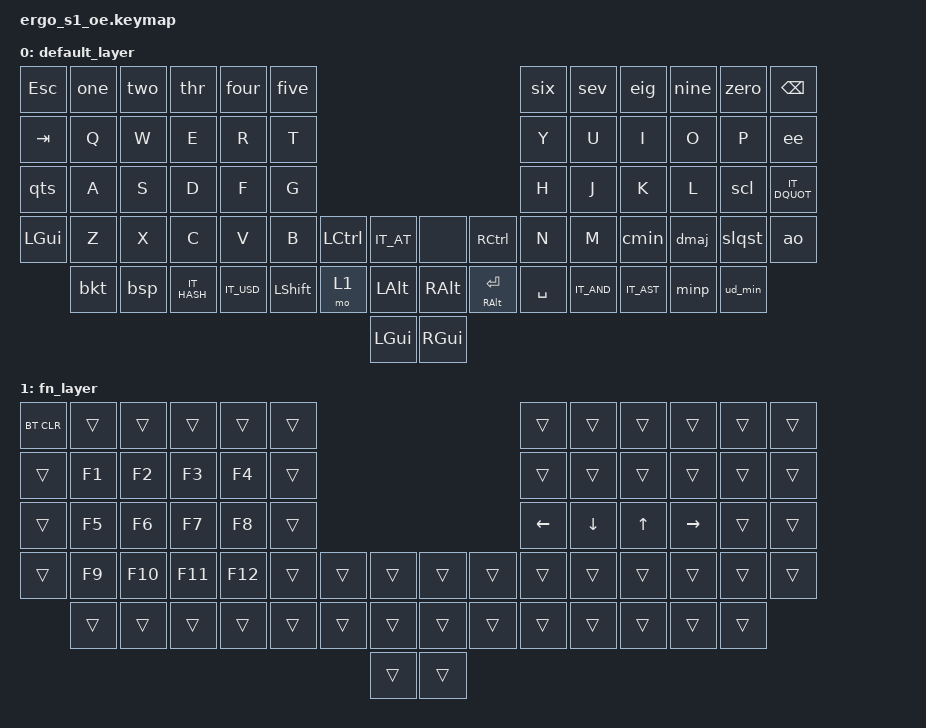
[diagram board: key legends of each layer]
/*
 * Copyright (c) 2021 The ZMK Contributors
 *
 * SPDX-License-Identifier: MIT
 */

#include <behaviors.dtsi>
#include <dt-bindings/zmk/keys.h>
#include <dt-bindings/zmk/bt.h>
#include <dt-bindings/zmk/ext_power.h>
#include <dt-bindings/zmk/outputs.h>
#include "keymap_ita.h"

 #define DEFAULT 0
 #define FN  1

/ {
    behaviors {
        one: one {
            compatible = "zmk,behavior-mod-morph";
            #binding-cells = <0>;
            bindings = <&kp IT_EXCL>, <&kp N1>;
            mods = <(MOD_LSFT|MOD_RSFT)>;
        };

        two: two {
            compatible = "zmk,behavior-mod-morph";
            #binding-cells = <0>;
            bindings = <&kp IT_LBRC>, <&kp N2>;
            mods = <(MOD_LSFT|MOD_RSFT)>;
        };

        thr: thr {
            compatible = "zmk,behavior-mod-morph";
            #binding-cells = <0>;
            bindings = <&kp IT_LBKT>, <&kp N3>;
            mods = <(MOD_LSFT|MOD_RSFT)>;
        };

        four: four {
            compatible = "zmk,behavior-mod-morph";
            #binding-cells = <0>;
            bindings = <&kp IT_LPAR>, <&kp N4>;
            mods = <(MOD_LSFT|MOD_RSFT)>;
        };

        five: five {
            compatible = "zmk,behavior-mod-morph";
            #binding-cells = <0>;
            bindings = <&kp IT_PERC>, <&kp N5>;
            mods = <(MOD_LSFT|MOD_RSFT)>;
        };

        six: six {
            compatible = "zmk,behavior-mod-morph";
            #binding-cells = <0>;
            bindings = <&kp IT_CARET>, <&kp N6>;
            mods = <(MOD_LSFT|MOD_RSFT)>;
        };

        sev: sev {
            compatible = "zmk,behavior-mod-morph";
            #binding-cells = <0>;
            bindings = <&kp IT_RPAR>, <&kp N7>;
            mods = <(MOD_LSFT|MOD_RSFT)>;
        };

        eig: eig {
            compatible = "zmk,behavior-mod-morph";
            #binding-cells = <0>;
            bindings = <&kp IT_RBKT>, <&kp N8>;
            mods = <(MOD_LSFT|MOD_RSFT)>;
        };

        nine: nine {
            compatible = "zmk,behavior-mod-morph";
            #binding-cells = <0>;
            bindings = <&kp IT_RBRC>, <&kp N9>;
            mods = <(MOD_LSFT|MOD_RSFT)>;
        };

        zero: zero {
            compatible = "zmk,behavior-mod-morph";
            #binding-cells = <0>;
            bindings = <&kp IT_EQL>, <&kp N0>;
            mods = <(MOD_LSFT|MOD_RSFT)>;
        };

        ee: ee {
            compatible = "zmk,behavior-mod-morph";
            #binding-cells = <0>;
            bindings = <&kp IT_EGRV>, <&kp IT_EACU>;
            mods = <(MOD_LSFT|MOD_RSFT)>;
        };

        ao: ao {
            compatible = "zmk,behavior-mod-morph";
            #binding-cells = <0>;
            bindings = <&kp IT_AGRV>, <&kp IT_OGRV>;
            mods = <(MOD_LSFT|MOD_RSFT)>;
        };

        ud_min: underscore_minus {
            compatible = "zmk,behavior-mod-morph";
            #binding-cells = <0>;
            bindings = <&kp IT_UNDER>, <&kp IT_IGRV>;
            mods = <(MOD_LSFT|MOD_RSFT)>;
        };

        qts: quotes {
            compatible = "zmk,behavior-mod-morph";
            #binding-cells = <0>;
            bindings = <&kp IT_SQUOT>, <&kp IT_PLUS>;
            mods = <(MOD_LSFT|MOD_RSFT)>;
        };

        scl: col_semi {
            compatible = "zmk,behavior-mod-morph";
            #binding-cells = <0>;
            bindings = <&kp IT_SCOL>, <&kp IT_COL>;
            mods = <(MOD_LSFT|MOD_RSFT)>;
        }; 

        slqst: slash_question {
            compatible = "zmk,behavior-mod-morph";
            #binding-cells = <0>;
            bindings = <&kp IT_FSLH>, <&kp IT_QUES>;
            mods = <(MOD_LSFT|MOD_RSFT)>;
        };

        cmin: comma_minor {
            compatible = "zmk,behavior-mod-morph";
            #binding-cells = <0>;
            bindings = <&kp COMMA>, <&kp IT_LESS>;
            mods = <(MOD_LSFT|MOD_RSFT)>;
        };

        dmaj: dot_major {
            compatible = "zmk,behavior-mod-morph";
            #binding-cells = <0>;
            bindings = <&kp DOT>, <&kp IT_GREAT>;
            mods = <(MOD_LSFT|MOD_RSFT)>;
        };

        minp: minus_plus {
            compatible = "zmk,behavior-mod-morph";
            #binding-cells = <0>;
            bindings = <&kp IT_MINUS>, <&kp IT_UGRV>;
            mods = <(MOD_LSFT|MOD_RSFT)>;
        };

        bkt: back_tilde {
            compatible = "zmk,behavior-mod-morph";
            #binding-cells = <0>;
            bindings = <&kp IT_BKTK>, <&kp IT_TILDE>;
            mods = <(MOD_LSFT|MOD_RSFT)>;
        };
        
        bsp: backslash_pipe {
            compatible = "zmk,behavior-mod-morph";
            #binding-cells = <0>;
            bindings = <&kp IT_BSLH>, <&kp IT_PIPE>;
            mods = <(MOD_LSFT|MOD_RSFT)>;
        };

        ht: hold_tap {
            compatible = "zmk,behavior-hold-tap";
            #binding-cells = <2>;
            flavor = "hold-preferred";
            tapping-term-ms = <200>;
            quick-tap-ms = <150>;
            require-prior-idle-ms = <150>;
            bindings = <&kp>, <&kp>;
        };

    };
};

/ {
    macros {
    
        l_crly: left_curly_bracket {
            compatible = "zmk,behavior-macro";
            #binding-cells = <0>;
            bindings
                = <&macro_press &kp LSHFT >
                , <&macro_tap &kp LBKT>
                , <&macro_release &kp LSHFT>
                ;
        };

        r_crly: right_curly_bracket {
            compatible = "zmk,behavior-macro";
            #binding-cells = <0>;
            bindings
                = <&macro_press &kp LSHFT >
                , <&macro_tap &kp RBKT>
                , <&macro_release &kp LSHFT>
                ;
        };

    };
};

/ {
       keymap {
              compatible = "zmk,keymap";

              default_layer {

// ---------------------------------------------------------------------------------------------------------------------------------
// | ESC  |  ! 1 |  { 2 |  [ 3 |  ( 4 |  % 5 |                                                                                              |  ^ 6 |  ) 7 |  ] 8 |  } 9 |  = 0 | BSPC |
// | TAB  |  Q   |  W   |  E   |  R   |  T   |                                                                                              |  Y   |  U   |  I   |  O   |  P   | é è  |
// | ' +  |  A   |  S   |  D   |  F   |  G   |                                                                                              |  H   |  J   |  K   |  L   |  : ; | "    |
// | CMD  |  Z   |  X   |  C   |  V   |  B   |      | CTL  |  @   |                                                 |      | CTL  |            N   |  M   |  , < |  . > |  / ? | à ò  |
//        |  ` ~ |  \ | |  #   |  $   |        SHFT | FN1  | OPT  |                                                 | OPT  | ENT+opt | SPC         |  &   |  *   |  - ù |  _ ì |
//                                                         | CMD  |                                                 | CMD  |


                     bindings = <
      &kp ESC      &one    &two    &thr        &four       &five                                                                               &six      &sev       &eig       &nine      &zero     &kp BSPC
      &kp TAB      &kp Q   &kp W   &kp E       &kp R       &kp T                                                                               &kp Y     &kp U      &kp I      &kp O      &kp P     &ee
      &qts         &kp A   &kp S   &kp D       &kp F       &kp G                                                                               &kp H     &kp J      &kp K      &kp L      &scl      &kp IT_DQUOT
      &kp LGUI     &kp Z   &kp X   &kp C       &kp V       &kp B               &kp LCTRL &kp IT_AT     &none     &kp RCTRL                     &kp N     &kp M      &cmin      &dmaj      &slqst    &ao
                   &bkt    &bsp    &kp IT_HASH &kp IT_USD          &kp LSHIFT  &mo 1     &kp LALT      &kp RALT  &mt RALT ENTER  &kp SPACE               &kp IT_AND &kp IT_AST &minp      &ud_min
                                                                                         &kp LGUI      &kp RGUI
                     >;
              };
              fn_layer {

// ---------------------------------------------------------------------------------------------------------------------------------
// |BT_CLR|      |      |      |      |      |                                                                                                   |      |      |      |      |      |      |
// |      |  F1  |  F2  |  F3  |  F4  |      |                                                                                                   |      |      |      |      |      |      |
// |      |  F5  |  F6  |  F7  |  F8  |      |                                                                                                   |  lf  |  dw  |  up  |  rg  |      |      |
// |      |  F9  |  F10 |  F11 |  F12 |      |      |      |      |                                                         |      |      |      |      |      |      |      |      |      |
//        |      |      |      |      |      |      |  FN1 |      |                                                         |      |      |      |      |      |      |      |      |
//                                                         |      |                                                         |      |


                     bindings = <
        &bt BT_CLR   &trans      &trans       &trans      &trans       &trans                                                                       &trans        &trans       &trans       &trans     &trans   &trans
        &trans       &kp F1      &kp F2       &kp F3      &kp F4       &trans                                                                       &trans        &trans       &trans       &trans     &trans   &trans
        &trans       &kp F5      &kp F6       &kp F7      &kp F8       &trans                                                                       &kp LEFT      &kp DOWN     &kp UP       &kp RIGHT  &trans   &trans
        &trans       &kp F9      &kp F10      &kp F11     &kp F12      &trans              &trans    &trans        &trans    &trans                 &trans        &trans       &trans       &trans     &trans   &trans
                     &trans      &trans       &trans      &trans                 &trans    &trans    &trans        &trans    &trans    &trans                     &trans       &trans       &trans     &trans
                                                                                                     &trans        &trans
                     >;
              };

    };
};
